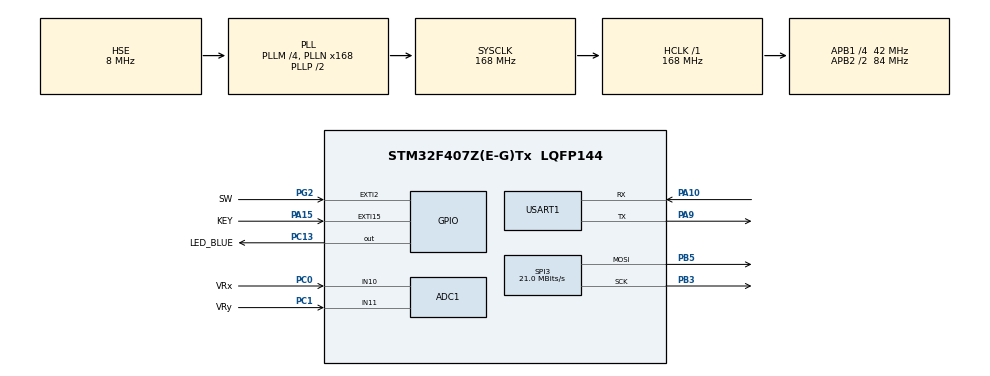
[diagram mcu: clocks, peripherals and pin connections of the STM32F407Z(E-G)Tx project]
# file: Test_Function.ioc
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ADC1.Channel-0\#ChannelRegularConversion=ADC_CHANNEL_10
ADC1.Channel-1\#ChannelRegularConversion=ADC_CHANNEL_11
ADC1.Channel-2\#ChannelRegularConversion=ADC_CHANNEL_TEMPSENSOR
ADC1.ClockPrescaler=ADC_CLOCK_SYNC_PCLK_DIV4
ADC1.ContinuousConvMode=ENABLE
ADC1.DMAContinuousRequests=ENABLE
ADC1.DataAlign=ADC_DATAALIGN_RIGHT
ADC1.EOCSelection=ADC_EOC_SEQ_CONV
ADC1.NbrOfConversion=3
ADC1.NbrOfConversionFlag=1
ADC1.Rank-0\#ChannelRegularConversion=1
ADC1.Rank-1\#ChannelRegularConversion=2
ADC1.Rank-2\#ChannelRegularConversion=3
ADC1.SamplingTime-0\#ChannelRegularConversion=ADC_SAMPLETIME_480CYCLES
ADC1.SamplingTime-1\#ChannelRegularConversion=ADC_SAMPLETIME_480CYCLES
ADC1.SamplingTime-2\#ChannelRegularConversion=ADC_SAMPLETIME_480CYCLES
ADC1.ScanConvMode=ENABLE
ADC1.master=1
Dma.ADC1.0.Direction=DMA_PERIPH_TO_MEMORY
Dma.ADC1.0.FIFOMode=DMA_FIFOMODE_DISABLE
Dma.ADC1.0.Instance=DMA2_Stream0
Dma.ADC1.0.MemDataAlignment=DMA_MDATAALIGN_WORD
Dma.ADC1.0.MemInc=DMA_MINC_ENABLE
Dma.ADC1.0.Mode=DMA_CIRCULAR
Dma.ADC1.0.PeriphDataAlignment=DMA_PDATAALIGN_WORD
Dma.ADC1.0.PeriphInc=DMA_PINC_DISABLE
Dma.ADC1.0.Priority=DMA_PRIORITY_VERY_HIGH
Dma.Request0=ADC1
Mcu.Family=STM32F4
Mcu.Name=STM32F407Z(E-G)Tx
Mcu.Package=LQFP144
NVIC.DMA2_Stream0_IRQn=true\:0\:0\:false\:false\:true\:false\:true\:true
NVIC.EXTI15_10_IRQn=true\:1\:0\:true\:false\:true\:true\:true\:true
NVIC.EXTI2_IRQn=true\:1\:0\:true\:false\:true\:true\:true\:true
NVIC.PriorityGroup=NVIC_PRIORITYGROUP_4
NVIC.TIM1_UP_TIM10_IRQn=true\:2\:0\:true\:false\:true\:true\:true\:true
PA10.Mode=Asynchronous
PA10.Signal=USART1_RX
PA13.Mode=Serial_Wire
PA13.Signal=SYS_JTMS-SWDIO
PA14.Mode=Serial_Wire
PA14.Signal=SYS_JTCK-SWCLK
PA15.GPIO_Label=KEY
PA15.GPIO_ModeDefaultEXTI=GPIO_MODE_IT_FALLING
PA15.GPIO_PuPd=GPIO_PULLUP
PA15.Signal=GPXTI15
PA9.Mode=Asynchronous
PA9.Signal=USART1_TX
PB3.Mode=TX_Only_Simplex_Unidirect_Master
PB3.Signal=SPI3_SCK
PB5.Mode=TX_Only_Simplex_Unidirect_Master
PB5.Signal=SPI3_MOSI
PC0.GPIO_Label=VRx
PC0.Signal=ADCx_IN10
PC1.GPIO_Label=VRy
PC1.Signal=ADCx_IN11
PC13-ANTI_TAMP.GPIO_Label=LED_BLUE
PC13-ANTI_TAMP.PinState=GPIO_PIN_SET
PC13-ANTI_TAMP.Signal=GPIO_Output
PC14-OSC32_IN.Mode=LSE-External-Oscillator
PC14-OSC32_IN.Signal=RCC_OSC32_IN
PC15-OSC32_OUT.Mode=LSE-External-Oscillator
PC15-OSC32_OUT.Signal=RCC_OSC32_OUT
PG2.GPIO_Label=SW
PG2.GPIO_ModeDefaultEXTI=GPIO_MODE_IT_FALLING
PG2.GPIO_PuPd=GPIO_PULLUP
PG2.Signal=GPXTI2
PH0-OSC_IN.Mode=HSE-External-Oscillator
PH0-OSC_IN.Signal=RCC_OSC_IN
PH1-OSC_OUT.Mode=HSE-External-Oscillator
PH1-OSC_OUT.Signal=RCC_OSC_OUT
ProjectManager.HeapSize=0x200
ProjectManager.StackSize=0x400
ProjectManager.TargetToolchain=MDK-ARM V5.32
RCC.48MHZClocksFreq_Value=84000000
RCC.AHBFreq_Value=168000000
RCC.APB1CLKDivider=RCC_HCLK_DIV4
RCC.APB1Freq_Value=42000000
RCC.APB1TimFreq_Value=84000000
RCC.APB2CLKDivider=RCC_HCLK_DIV2
RCC.APB2Freq_Value=84000000
RCC.APB2TimFreq_Value=168000000
RCC.CortexFreq_Value=168000000
RCC.HCLKFreq_Value=168000000
RCC.HSE_VALUE=8000000
RCC.HSI_VALUE=16000000
RCC.PLLM=4
RCC.PLLN=168
RCC.PLLSourceVirtual=RCC_PLLSOURCE_HSE
RCC.SYSCLKFreq_VALUE=168000000
RCC.SYSCLKSource=RCC_SYSCLKSOURCE_PLLCLK
RCC.VCOOutputFreq_Value=336000000
SH.ADCx_IN10.0=ADC1_IN10,IN10
SH.ADCx_IN11.0=ADC1_IN11,IN11
SPI3.BaudRatePrescaler=SPI_BAUDRATEPRESCALER_2
SPI3.CalculateBaudRate=21.0 MBits/s
SPI3.Direction=SPI_DIRECTION_2LINES
SPI3.Mode=SPI_MODE_MASTER
SPI3.VirtualType=VM_MASTER
TIM1.AutoReloadPreload=TIM_AUTORELOAD_PRELOAD_ENABLE
TIM1.Period=10000-1
TIM1.Prescaler=168-1
USART1.VirtualMode=VM_ASYNC
VP_ADC1_TempSens_Input.Mode=IN-TempSens
VP_TIM1_VS_ClockSourceINT.Mode=Internal
board=custom

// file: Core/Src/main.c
/* USER CODE BEGIN Header */
/**
 ******************************************************************************
 * @file           : main.c
 * @brief          : Main program body
 ******************************************************************************
 * @attention
 *
 * Copyright (c) 2023 STMicroelectronics.
 * All rights reserved.
 *
 * This software is licensed under terms that can be found in the LICENSE file
 * in the root directory of this software component.
 * If no LICENSE file comes with this software, it is provided AS-IS.
 *
 ******************************************************************************
 */
/* USER CODE END Header */
#include "main.h"
#include "adc.h"
#include "dma.h"
#include "spi.h"
#include "tim.h"
#include "usart.h"
#include "gpio.h"

/* USER CODE BEGIN Includes */
#include "lcd_spi_169.h"
#include "remoteControl.h"
/* USER CODE END Includes */

/* USER CODE BEGIN PV */
volatile uint32_t adcBuffer[ADC_CHANNEL_COUNT * ADC_AVERAGE_COUNT]; // 保存ADC转换后的数值
float ADC_Value[ADC_CHANNEL_COUNT];                                 // 保存计算后的数值
float temperature = 0.0;                                            // 内部温度传感器

char LCD_Str[50] = {0};

extern float TargetSpeed[2]; // 0为左轮速度，1为右轮速度
extern float refrenceVR[2];  // 参考电压，即二者速度为0时的基准电压
int tim1Count = 0;

int speedTransmit[2] = {0};
/* USER CODE END PV */

void SystemClock_Config(void);

int main(void)
{

  /* MCU Configuration--------------------------------------------------------*/

  /* Reset of all peripherals, Initializes the Flash interface and the Systick. */
  HAL_Init();

  /* Configure the system clock */
  SystemClock_Config();

  /* Initialize all configured peripherals */
  MX_GPIO_Init();
  MX_DMA_Init();
  MX_ADC1_Init();
  MX_SPI3_Init();
  MX_TIM1_Init();
  MX_USART1_UART_Init();
  /* USER CODE BEGIN 2 */
  SPI_LCD_Init(); // SPI LCD初始化
  HAL_TIM_Base_Start_IT(&htim1);
  HAL_ADC_Start_DMA(&hadc1, (uint32_t *)adcBuffer, ADC_CHANNEL_COUNT * ADC_AVERAGE_COUNT);
  /* USER CODE END 2 */

  /* Infinite loop */
  /* USER CODE BEGIN WHILE */
  while (1)
  {
    LCD_Show();
    // HAL_Delay(200);
    /* USER CODE END WHILE */

  }
}

void SystemClock_Config(void)
{
  RCC_OscInitTypeDef RCC_OscInitStruct = {0};
  RCC_ClkInitTypeDef RCC_ClkInitStruct = {0};

  /** Configure the main internal regulator output voltage
   */
  __HAL_RCC_PWR_CLK_ENABLE();
  __HAL_PWR_VOLTAGESCALING_CONFIG(PWR_REGULATOR_VOLTAGE_SCALE1);

  /** Initializes the RCC Oscillators according to the specified parameters
   * in the RCC_OscInitTypeDef structure.
   */
  RCC_OscInitStruct.OscillatorType = RCC_OSCILLATORTYPE_HSE;
  RCC_OscInitStruct.HSEState = RCC_HSE_ON;
  RCC_OscInitStruct.PLL.PLLState = RCC_PLL_ON;
  RCC_OscInitStruct.PLL.PLLSource = RCC_PLLSOURCE_HSE;
  RCC_OscInitStruct.PLL.PLLM = 4;
  RCC_OscInitStruct.PLL.PLLN = 168;
  RCC_OscInitStruct.PLL.PLLP = RCC_PLLP_DIV2;
  RCC_OscInitStruct.PLL.PLLQ = 4;
  if (HAL_RCC_OscConfig(&RCC_OscInitStruct) != HAL_OK)
  {
    Error_Handler();
  }

  /** Initializes the CPU, AHB and APB buses clocks
   */
  RCC_ClkInitStruct.ClockType = RCC_CLOCKTYPE_HCLK | RCC_CLOCKTYPE_SYSCLK | RCC_CLOCKTYPE_PCLK1 | RCC_CLOCKTYPE_PCLK2;
  RCC_ClkInitStruct.SYSCLKSource = RCC_SYSCLKSOURCE_PLLCLK;
  RCC_ClkInitStruct.AHBCLKDivider = RCC_SYSCLK_DIV1;
  RCC_ClkInitStruct.APB1CLKDivider = RCC_HCLK_DIV4;
  RCC_ClkInitStruct.APB2CLKDivider = RCC_HCLK_DIV2;

  if (HAL_RCC_ClockConfig(&RCC_ClkInitStruct, FLASH_LATENCY_5) != HAL_OK)
  {
    Error_Handler();
  }
}

/* USER CODE BEGIN 4 */
void HAL_TIM_PeriodElapsedCallback(TIM_HandleTypeDef *htim)
{
  if (htim == &htim1) // 10ms中断
  {
    tim1Count++;
    Speed_Calculate();
    speedTransmit[0] = TargetSpeed[0] * 100;
    speedTransmit[1] = TargetSpeed[1] * 100;
    if (tim1Count > 5)
    {
      printf("leftSpeed:%d,rightSpeed:%d\r\n", speedTransmit[0], speedTransmit[1]);
      tim1Count = 0;
    }
  }
}
void LCD_Show(void)
{
  LCD_SetDirection(Direction_V);
  LCD_SetTextFont(&CH_Font24);
  LCD_SetColor(LCD_WHITE);
  LCD_SetBackColor(LCD_BLACK);

  sprintf(LCD_Str, "VRx = %.2fV   ", ADC_Value[0]);
  LCD_DisplayText(13, 40, LCD_Str);
  sprintf(LCD_Str, "VRy = %.2fV   ", ADC_Value[1]);
  LCD_DisplayText(13, 70, LCD_Str);
  sprintf(LCD_Str, "temp = %.2f   ", temperature);
  LCD_DisplayText(13, 100, LCD_Str);
  sprintf(LCD_Str, "leftSpeed = %.2f   ", TargetSpeed[0]);
  LCD_DisplayText(13, 130, LCD_Str);
  sprintf(LCD_Str, "rightSpeed = %.2f   ", TargetSpeed[1]);
  LCD_DisplayText(13, 160, LCD_Str);
}
/* USER CODE END 4 */

void Error_Handler(void)
{
  __disable_irq();
  while (1)
  {
  }
}
